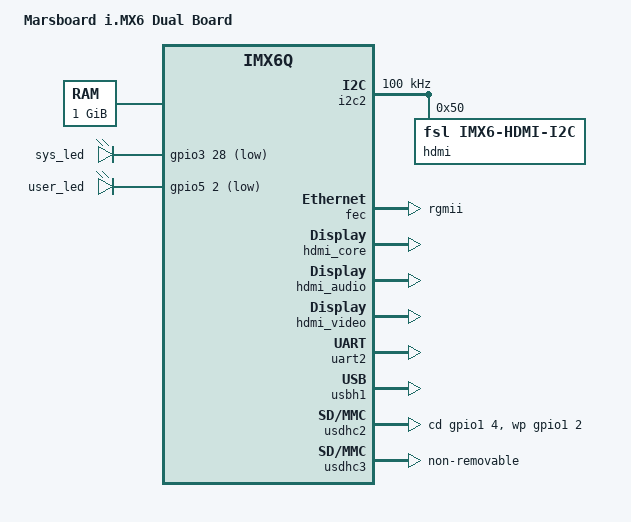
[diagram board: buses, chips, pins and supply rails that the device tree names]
/dts-v1/;

#include "imx6q.dtsi"

/ {
  	model = "Marsboard i.MX6 Dual Board";
	compatible = "embest,imx6q-marsboard", "fsl,imx6q";
	aliases {
		mxcfb0 = &mxcfb1;
		mxcfb1 = &mxcfb2;
		mxcfb2 = &mxcfb3;
		mxcfb3 = &mxcfb4;
	};

	memory {
		reg = <0x10000000 0x40000000>;
	};

	leds { /* see iomuxc definition below */
		compatible = "gpio-leds";
		sys_led {
			gpios = <&gpio3 28 GPIO_ACTIVE_LOW>;
			linux,default-trigger = "heartbeat";
		};
		user_led {
			gpios = <&gpio5 2 GPIO_ACTIVE_LOW>;
		};
	};
	
	sound-hdmi {
		compatible = "fsl,imx6q-audio-hdmi", "fsl,imx-audio-hdmi";
		model = "imx-audio-hdmi";
		hdmi-controller = <&hdmi_audio>;
		status = "okay";
	};

	mxcfb1: fb@0 {
		compatible = "fsl,mxc_sdc_fb";
		disp_dev = "hdmi";
		interface_pix_fmt = "RGB24";
		mode_str ="1920x1080M@60";
		default_bpp = <24>;
		int_clk = <0>;
		late_init = <0>;
		status = "enabled";
	};

	mxcfb2: fb@1 {
		compatible = "fsl,mxc_sdc_fb";
		disp_dev = "ldb";
		interface_pix_fmt = "RGB666";
		mode_str ="LDB-XGA";
		default_bpp = <16>;
		int_clk = <0>;
		late_init = <0>;
		status = "disabled";
	};

	mxcfb3: fb@2 {
		compatible = "fsl,mxc_sdc_fb";
		disp_dev = "lcd";
		interface_pix_fmt = "RGB565";
		mode_str ="CLAA-WVGA";
		default_bpp = <16>;
		int_clk = <0>;
		late_init = <0>;
		status = "disabled";
	};

	mxcfb4: fb@3 {
		compatible = "fsl,mxc_sdc_fb";
		disp_dev = "ldb";
		interface_pix_fmt = "RGB666";
		mode_str ="LDB-XGA";
		default_bpp = <16>;
		int_clk = <0>;
		late_init = <0>;
		status = "disabled";
	};

	v4l2_cap_0 {
		compatible = "fsl,imx6q-v4l2-capture";
		ipu_id = <0>;
		csi_id = <0>;
		mclk_source = <0>;
		status = "disabled";
	}; 

	v4l2_cap_1 {
		compatible = "fsl,imx6q-v4l2-capture";
		ipu_id = <0>;
		csi_id = <1>;
		mclk_source = <0>;
		status = "disabled";
	};

	v4l2_out { // v4l2 output support: /dev/video16 + /dev/video17
		compatible = "fsl,mxc_v4l2_output";
		status = "okay";
	};

//	pwmleds {
//		compatible = "pwm-leds";
//		my_pwm {
//			pwms = <&pwm4 0 5000000>;
//			max-brightness = <255>;
//		};
//	};

};

&iomuxc {
	pinctrl-names = "default";
	pinctrl-0 = <&pinctrl_hog>;

	hog {
		pinctrl_hog: hoggrp {
		fsl,pins = < 
			/* gpio-leds */
			MX6QDL_PAD_EIM_D28__GPIO3_IO28 0x80000000
			MX6QDL_PAD_EIM_A25__GPIO5_IO02 0x80000000
		>;
		};
	};
	
// shared on LCD port (J12), extension header (J11), and LVDS display (J3), on-board pull-ups
// 
//	i2c3 {		/* for LVDS display */
//		pinctrl_i2c3_5: i2c3grp-5 {
//			fsl,pins = <
//					MX6QDL_PAD_GPIO_5__I2C3_SCL 0x4001b8b1
//					MX6QDL_PAD_GPIO_6__I2C3_SDA 0x4001b8b1
//			>;
//		};
//	};

// shared on J10 and LVDS display (J3)
//	pwm4 {
//		pinctrl_pwm4_2: pwm4grp-2 {
//			fsl,pins = <
//				MX6QDL_PAD_SD1_CMD__PWM4_OUT 0x1b0b1
//			>;
//		};
//	};

};

// part of HDMI (J1)
&i2c2 {
	clock-frequency = <100000>;
	pinctrl-names = "default";
	pinctrl-0 = <&pinctrl_i2c2_2>;
	status = "okay";

	hdmi: edid@50 {
		compatible = "fsl,imx6-hdmi-i2c";
		reg = <0x50>;
	};
};

&cpu0 {
	arm-supply = <&reg_arm>;
	soc-supply = <&reg_soc>;
	pu-supply = <&reg_pu>; /* use pu_dummy if VDDSOC share with VDDPU */
};

&gpc {
	fsl,ldo-bypass = <0>; /* use ldo-bypass, u-boot will check it and configure */
	fsl,wdog-reset = <1>; /* watchdog select of reset source */
	pu-supply = <&reg_pu>; /* ldo-bypass:use pu_dummy if VDDSOC share with VDDPU */
};

&gpu {
	pu-supply = <&reg_pu>; /* ldo-bypass:use pu_dummy if VDDSOC share with VDDPU */
};

&vpu {
	pu-supply = <&reg_pu>; /* ldo-bypass:use pu_dummy if VDDSOC share with VDDPU */
};

&fec {
	pinctrl-names = "default";
	pinctrl-0 = <&pinctrl_enet_1>;
	phy-mode = "rgmii";
	status = "okay";
};

&hdmi_core {
	ipu_id = <0>;
	disp_id = <0>;
	status = "okay";
};

&hdmi_audio {
	status = "okay";
};

&hdmi_video {
	fsl,phy_reg_vlev = <0x0294>;
	fsl,phy_reg_cksymtx = <0x800d>;
	status = "okay";
};

&mxcfb1 {
	status = "okay";
};

// example for display
//&ldb {
//	ipu_id = <1>;
//	disp_id = <1>;
//	ext_ref = <1>;
//	mode = "sep1";
//	sec_ipu_id = <1>;
//	sec_disp_id = <0>;
//};

// example for UART on J11
//&uart1 {
//	pinctrl-names = "default";
//	pinctrl-0 = <&pinctrl_uart1_1>;
//	status = "okay";
//};

// this is debug com
&uart2 {
	pinctrl-names = "default";
	pinctrl-0 = <&pinctrl_uart2_1>;
	status = "okay";
};

// example for UART on J10
//&uart3 {
//	pinctrl-names = "default";
//	pinctrl-0 = <&pinctrl_uart3_1>;
//	status = "okay";
//};

&usbh1 {
	status = "okay";
};

// micro-SD card J13
&usdhc2 {
	pinctrl-names = "default";
	pinctrl-0 = <&pinctrl_usdhc2_2>;
	cd-gpios = <&gpio1 4 0>;
	wp-gpios = <&gpio1 2 0>;
	status = "okay";
};

// on-board eMMC
&usdhc3 {
	pinctrl-names = "default";
	pinctrl-0 = <&pinctrl_usdhc3_2>;
	non-removable;
	status = "okay";
};

// example for PWM
//&pwm4 {
//	pinctrl-names = "default";
//	pinctrl-0 = <&pinctrl_pwm4_2>;
//	status = "okay";
//};


